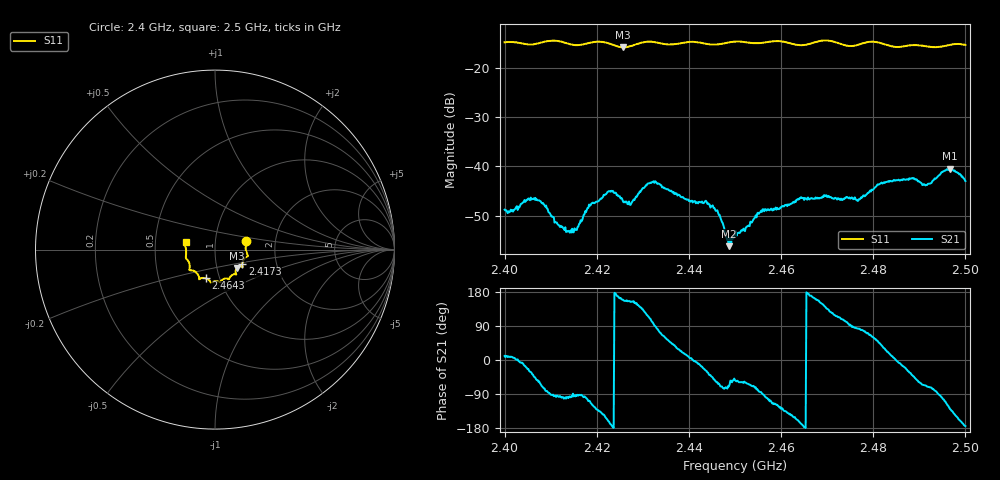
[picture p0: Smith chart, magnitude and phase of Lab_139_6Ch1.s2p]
# Hz S RI R 50
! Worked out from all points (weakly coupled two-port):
!   601 points, 2.4 GHz to 2.5 GHz, reference 50 ohm
!   highest |S21| = -40.51 dB at 2.4967 GHz (marker M1); lowest = -56.2 dB at 2.4487 GHz (marker M2)
!   lowest |S11| = -15.9 dB at 2.4257 GHz (marker M3), VSWR 1.38, Z = 62.5 - j13.1 ohm
!   |S11| at or under -10 dB: start of sweep to end of sweep
!   S12 and S22 are empty: the file has one direction only
!   S11 on the Smith chart (normalised r, x): 2.4 GHz: 1.41, +0.14; 2.4173 GHz: 1.34, -0.23; 2.4643 GHz: 0.86, -0.28; 2.5 GHz: 0.72, +0.06
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2.4e9  0.1732 0.0486  0.00357 0.000667  0 0  0 0
2.406167e9  0.1712 -0.000272  0.00364 -0.00294  0 0  0 0
2.413833e9  0.1677 -0.0461  -0.000404 -0.00218  0 0  0 0
2.416667e9  0.1529 -0.0747  -8.6e-05 -0.00276  0 0  0 0
2.417333e9  0.152 -0.0822  -0.000342 -0.00325  0 0  0 0
2.422667e9  0.1476 -0.0948  -0.00534 -0.00168  0 0  0 0
2.425667e9  0.1227 -0.1024  -0.00416 0.00158  0 0  0 0
2.427167e9  0.1156 -0.1158  -0.00372 0.0017  0 0  0 0
2.431167e9  0.1189 -0.1388  -0.00284 0.00607  0 0  0 0
2.433333e9  0.1129 -0.1372  0.00127 0.00658  0 0  0 0
2.445667e9  0.0499 -0.1633  0.00214 -0.00298  0 0  0 0
2.448667e9  0.0324 -0.1764  0.00053 -0.00146  0 0  0 0
2.45e9  0.0289 -0.1806  0.00125 -0.00166  0 0  0 0
2.456e9  -0.00663 -0.1778  -9.38e-06 -0.00367  0 0  0 0
2.464333e9  -0.0502 -0.1604  -0.00476 -0.00101  0 0  0 0
2.466667e9  -0.0761 -0.1589  -0.00466 0.00101  0 0  0 0
2.476667e9  -0.1228 -0.1169  0.000564 0.00441  0 0  0 0
2.483333e9  -0.1407 -0.09  0.0067 0.00231  0 0  0 0
2.488333e9  -0.1613 -0.0482  0.00587 -0.00477  0 0  0 0
2.491833e9  -0.1611 -0.027  0.00221 -0.00625  0 0  0 0
2.496667e9  -0.1683 0.0242  -0.00598 -0.00729  0 0  0 0
2.5e9  -0.1641 0.0422  -0.00706 -0.000683  0 0  0 0
